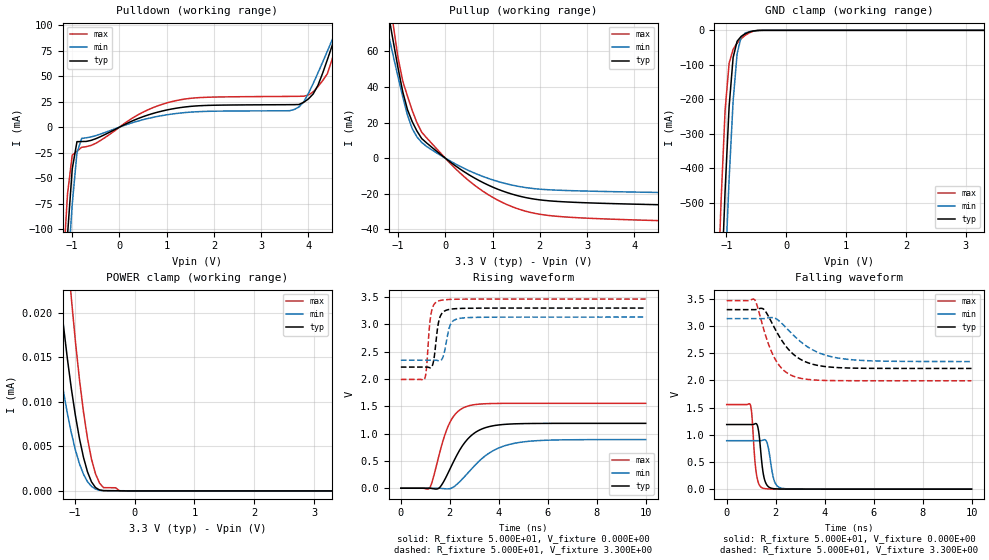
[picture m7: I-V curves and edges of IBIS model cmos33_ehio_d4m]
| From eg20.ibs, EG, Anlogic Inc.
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|   Model cmos33_ehio_d4m
[Model] cmos33_ehio_d4m
Model_type I/O
Enable   Active-Low
Vinl =  8.000E-01
Vinh =  2.000E+00
Vmeas =  1.650E+00
C_comp   4.500E-12   4.200E-12   4.800E-12
[Temperature Range]   2.500E+01   8.500E+01   -4.000E+01
[Voltage Range]   3.300E+00   3.135E+00   3.465E+00
[POWER Clamp Reference]   3.300E+00   3.135E+00   3.465E+00
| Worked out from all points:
|   slope of the pulldown table from 0 to 0.495 V, typ, clamps not added: 48.6 ohm
|   slope of the pullup table from 0 to 0.495 V, typ, clamps not added: 53.6 ohm
|   GND clamp passes 1 mA (typ) near -0.51 V on its own axis
|   rising waveform, R_fixture 5.000E+01, V_fixture 0.000E+00: 20-80 % time 958ps typ, 1.35ns min, 654ps max; typ from 0 V to 1.19 V
|   rising waveform, R_fixture 5.000E+01, V_fixture 3.300E+00: 20-80 % time 190ps typ, 224ps min, 161ps max; typ from 2.22 V to 3.3 V
|   falling waveform, R_fixture 5.000E+01, V_fixture 0.000E+00: 20-80 % time 178ps typ, 206ps min, 156ps max; typ from 1.19 V to 0 V
|   falling waveform, R_fixture 5.000E+01, V_fixture 3.300E+00: 20-80 % time 1.03ns typ, 1.38ns min, 756ps max; typ from 3.3 V to 2.22 V
[Pulldown]
|Voltage   I(typ)   I(min)   I(max)
-3.3V     -1.752A    -1.674A    -1.842A
-1.2V     -181.4mA   -213.8mA   -143.5mA
-1.1V     -106mA     -144.5mA   -65.49mA
-1V       -40.98mA   -75.77mA   -27.47mA
-900mV    -14.23mA   -25.21mA   -23.6mA
-800mV    -14.1mA    -11.08mA   -19.74mA
1.1V      17.72mA    12.76mA    24.94mA
3.7V      22.03mA    17.32mA    30.16mA
4.1V      32.55mA    42.78mA    34.6mA
4.6V      93.58mA    96.37mA    83.68mA
4.7V      107.5mA    107.4mA    101.9mA
6.6V      356.8mA    305.4mA    422.3mA
[Pullup]
|Voltage   I(typ)   I(min)   I(max)
-3.3V     329.1mA    262mA      438.1mA
-1.3V     95.62mA    81.18mA    113.6mA
-1.2V     80.42mA    69.18mA    93.99mA
-1.1V     65.35mA    57.3mA     74.57mA
-900mV    37.25mA    34.37mA    43.28mA
-800mV    27.24mA    24.17mA    34.83mA
-700mV    20.5mA     16.57mA    26.76mA
-500mV    11.06mA    8.885mA    14.61mA
500mV     -9.31mA    -6.997mA   -12.68mA
1.3V      -19.26mA   -14.43mA   -26.02mA
2.4V      -24.35mA   -18.01mA   -32.76mA
6.6V      -28.46mA   -20.98mA   -38.39mA
[GND_clamp]
|Voltage   I(typ)   I(min)   I(max)
-3.3V     -13.27A    -13.19A    -13.36A
-1.156V   -1.094A    -1.337A    -819.5mA
-1.089V   -767.1mA   -1.018A    -495.5mA
-1.022V   -466.7mA   -711mA     -232.4mA
-955mV    -221.7mA   -432.2mA   -95.74mA
-888mV    -78.86mA   -205.2mA   -54.97mA
-821mV    -31.69mA   -67.5mA    -37.18mA
-754mV    -17.67mA   -19.97mA   -24.38mA
-687mV    -10.19mA   -8.141mA   -14.58mA
-553mV    -2.019mA   -1.503mA   -2.763mA
-419mV    -87.67uA   -92.52uA   -70.16uA
3.3V      0A         0A         0A
[POWER_clamp]
|Voltage   I(typ)   I(min)   I(max)
-3.3V     274.8uA    208uA      379uA
-1.457V   37.35uA    24.22uA    60.83uA
-1.39V    32.14uA    20.55uA    53.14uA
-1.256V   22.74uA    14.02uA    39.05uA
-1.055V   11.4uA     6.455uA    21.51uA
-921mV    5.875uA    3.046uA    12.51uA
-854mV    3.77uA     1.871uA    8.882uA
-720mV    1.016uA    508.4nA    3.563uA
-653mV    378.7nA    211.4nA    1.919uA
-519mV    33.74nA    28.05nA    366.5nA
-251mV    15.63nA    21.96nA    13.64nA
3.3V      0A         0A         0A
[Ramp]
| variable   typ   min   max
dV/dt_r   7.129E-01/9.589E-10   5.349E-01/1.357E-09   9.330E-01/6.547E-10
dV/dt_f   6.486E-01/1.049E-09   4.736E-01/1.389E-09   8.835E-01/7.619E-10
R_load = 5.000E+01
[Rising Waveform]
R_fixture= 5.000E+01
V_fixture= 0.000E+00
V_fixture_min= 0.000E+00
V_fixture_max= 0.000E+00
|time   V(typ)   V(min)   V(max)
0s        0V         0V         0V
1.176ns   423.3uV    901.6nV    4.639mV
1.551ns   -681.3uV   299.9uV    589.1mV
1.956ns   304.6mV    -11.01mV   1.161V
2.296ns   612.3mV    73.6mV     1.392V
2.701ns   885.8mV    260.7mV    1.5V
3.099ns   1.038V     453mV      1.536V
3.609ns   1.129V     643.8mV    1.55V
4.67ns    1.18V      825.7mV    1.555V
10ns      1.188V     891.4mV    1.555V
[Rising Waveform]
R_fixture= 5.000E+01
V_fixture= 3.300E+00
V_fixture_min= 3.135E+00
V_fixture_max= 3.465E+00
|time   V(typ)   V(min)   V(max)
0s        2.219V     2.346V     1.992V
972ps     2.219V     2.346V     2.002V
1.047ns   2.219V     2.346V     2.198V
1.234ns   2.21V      2.345V     3.195V
1.351ns   2.368V     2.346V     3.364V
1.559ns   3.078V     2.333V     3.433V
1.739ns   3.231V     2.428V     3.449V
2.039ns   3.28V      3.01V      3.459V
2.399ns   3.293V     3.11V      3.463V
10ns      3.3V       3.135V     3.465V
[Falling Waveform]
R_fixture= 5.000E+01
V_fixture= 0.000E+00
V_fixture_min= 0.000E+00
V_fixture_max= 0.000E+00
|time   V(typ)   V(min)   V(max)
0s        1.188V     891.5mV    1.555V
963ps     1.188V     891.5mV    1.553V
1.033ns   1.188V     891.5mV    1.338V
1.206ns   1.204V     891.5mV    306.4mV
1.308ns   1.051V     891mV      101.5mV
1.472ns   350mV      899.5mV    19.91mV
1.667ns   61.42mV    825.5mV    5.354mV
1.962ns   7.412mV    131.4mV    1.954mV
2.241ns   2.705mV    17.89mV    1.06mV
10ns      608.5nV    1.624uV    0V
[Falling Waveform]
R_fixture= 5.000E+01
V_fixture= 3.300E+00
V_fixture_min= 3.135E+00
V_fixture_max= 3.465E+00
|time   V(typ)   V(min)   V(max)
0s        3.3V       3.135V     3.465V
1.152ns   3.299V     3.135V     3.476V
1.508ns   3.308V     3.134V     2.947V
1.749ns   3.14V      3.151V     2.617V
1.958ns   2.96V      3.145V     2.408V
2.312ns   2.693V     3.02V      2.192V
2.788ns   2.456V     2.804V     2.066V
3.642ns   2.282V     2.531V     2.005V
4.752ns   2.23V      2.396V     1.994V
10ns      2.219V     2.346V     1.992V
